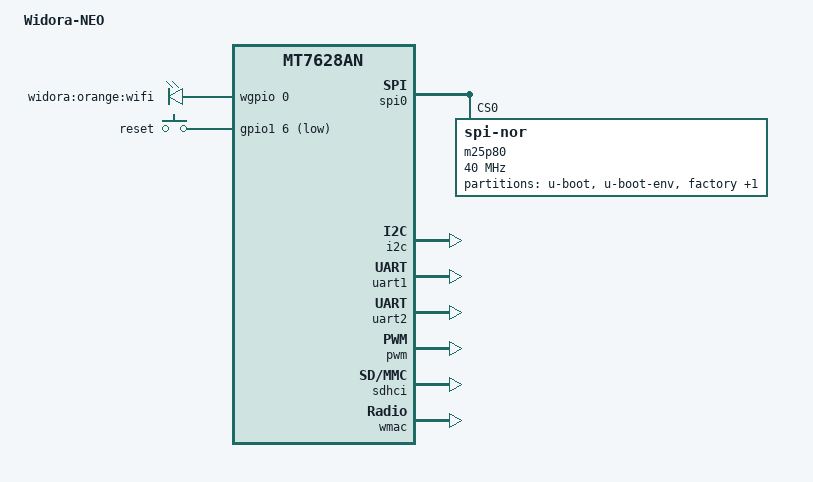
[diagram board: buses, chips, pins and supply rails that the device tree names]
#include "mt7628an.dtsi"

#include <dt-bindings/gpio/gpio.h>
#include <dt-bindings/input/input.h>

/ {
	compatible = "widora,widora-neo-16m", "widora,widora-neo-32m", "mediatek,mt7628an-soc";
	model = "Widora-NEO";

	chosen {
		bootargs = "console=ttyS0,115200";
	};

	gpio-leds {
		compatible = "gpio-leds";

		wifi {
			label = "widora:orange:wifi";
			gpios = <&wgpio 0 GPIO_ACTIVE_HIGH>;
			default-state = "on";
		};
	};

	gpio-keys-polled {
		compatible = "gpio-keys-polled";
		#address-cells = <1>;
		#size-cells = <0>;
		poll-interval = <20>;

		wps {
			label = "reset";
			gpios = <&gpio1 6 GPIO_ACTIVE_LOW>;
			linux,code = <KEY_WPS_BUTTON>;
		};
	};

	wgpio: gpio-wifi {
		compatible = "mediatek,gpio-wifi";
		#address-cells = <1>;
		#size-cells = <0>;
		gpio-controller;
		#gpio-cells = <2>;
	};
};

&pinctrl {
	state_default: pinctrl0 {
		gpio {
			ralink,group = "i2s", "refclk", "perst", "wled_an", "wdt";
			ralink,function = "gpio";
		};
	};
};

&spi0 {
	status = "okay";

	pinctrl-names = "default";
	pinctrl-0 = <&spi_pins>, <&spi_cs1_pins>;

	m25p80@0 {
		#address-cells = <1>;
		#size-cells = <1>;
		compatible = "jedec,spi-nor";
		reg = <0>;
		spi-max-frequency = <40000000>;
		m25p,chunked-io = <31>;

		partition@0 {
			label = "u-boot";
			reg = <0x0 0x30000>;
			read-only;
		};

		partition@30000 {
			label = "u-boot-env";
			reg = <0x30000 0x10000>;
			read-only;
		};

		factory: partition@40000 {
			label = "factory";
			reg = <0x40000 0x10000>;
			read-only;
		};

		firmware: partition@50000 {
			label = "firmware";
		};
	};
};

&i2c {
	status = "okay";
};

&uart1 {
	status = "okay";
};

&uart2 {
	status = "okay";
};

&pwm {
	status = "okay";
};

&ethernet {
	mtd-mac-address = <&factory 0x28>;
};

&sdhci {
	status = "okay";
	mediatek,cd-low;
};

&wmac {
	status = "okay";
};
